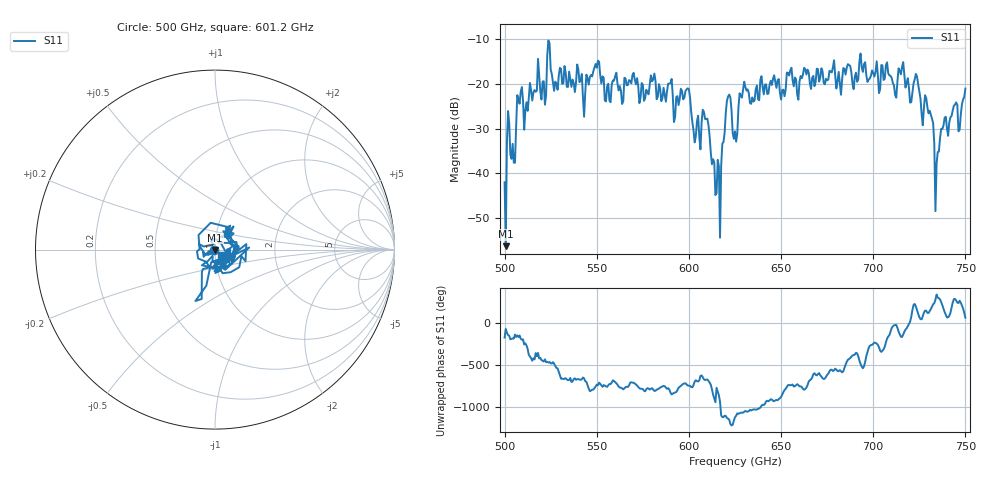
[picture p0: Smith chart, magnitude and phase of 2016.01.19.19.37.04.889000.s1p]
!Created with skrf (http://scikit-rf.org).
# GHz S RI R 50.0
!freq ReS11 ImS11
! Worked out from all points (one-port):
!   401 points, 500 GHz to 750 GHz, reference 50 ohm
!   lowest |S11| = -56.3 dB at 500.6 GHz (marker M1), VSWR 1.00, Z = 50 - j0.145 ohm
!   |S11| at or under -10 dB: start of sweep to end of sweep
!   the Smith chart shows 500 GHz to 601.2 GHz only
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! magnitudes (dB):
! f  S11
! 500 GHz  -42.0
! 500.6 GHz  -56.3
! 502.5 GHz  -28.8
! 505 GHz  -37.6
! 508.1 GHz  -24.4
! 521.2 GHz  -19.4
! 524.4 GHz  -10.9
! 527.5 GHz  -19.5
! 531.2 GHz  -20.0
! 543.8 GHz  -21.9
! 550 GHz  -16.4
! 562.5 GHz  -20.5
! 580.6 GHz  -19.0
! 593.8 GHz  -22.7
! 599.4 GHz  -21.0
! 603.1 GHz  -33.1
! 608.8 GHz  -27.8
! 615.6 GHz  -37.0
! 621.2 GHz  -22.8
! 625 GHz  -30.6
! 630.6 GHz  -20.7
! 656.2 GHz  -19.1
! 687.5 GHz  -16.0
! 718.8 GHz  -18.7
! 729.4 GHz  -25.2
! 734.4 GHz  -37.8
! 738.1 GHz  -29.3
! 750 GHz  -21.0
